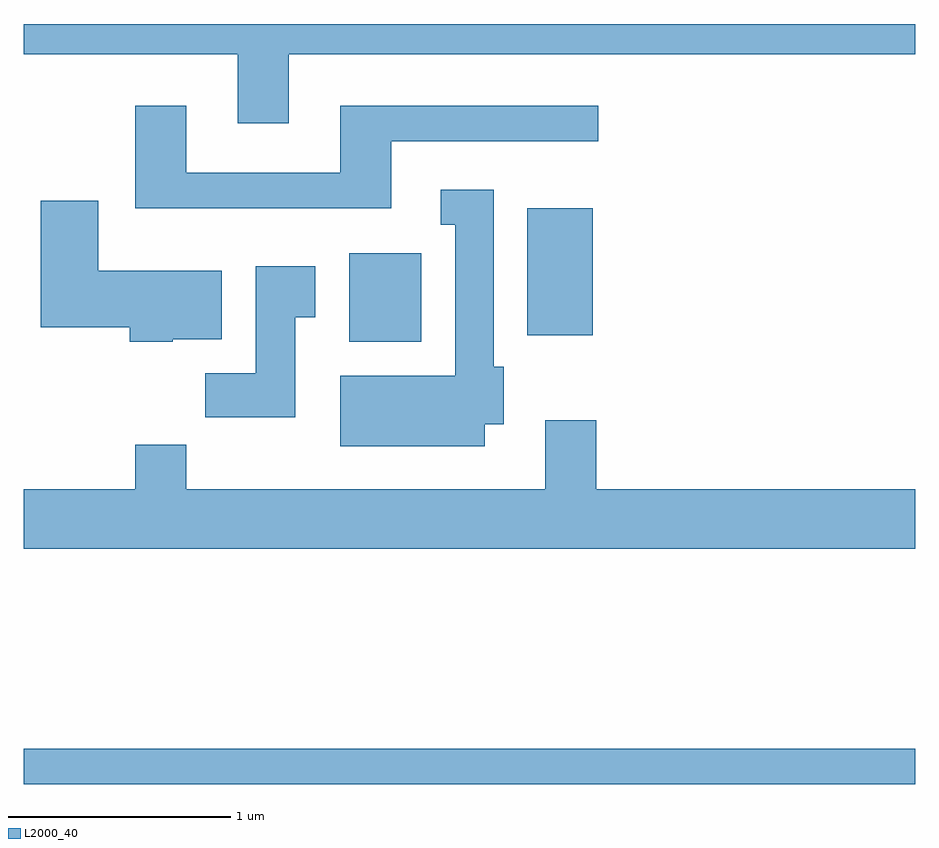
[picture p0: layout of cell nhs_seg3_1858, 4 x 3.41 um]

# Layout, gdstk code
import gdstk
lib = gdstk.Library(unit=1e-6, precision=1e-09)
def R(c, l, rs):  # rectangles x0, y0, x1, y1
    for r in rs: c.add(gdstk.rectangle(r[:2], r[2:], *l))
def P(c, l, *ps):  # polygons
    for p in ps: c.add(gdstk.Polygon(p, *l))
L2000_40 = (2000, 40)

nhs_seg3_1858 = lib.new_cell('nhs_seg3_1858')
R(nhs_seg3_1858, L2000_40, [(239.611,1160.481,243.611,1160.639), (241.071,1162.466,241.394,1162.864), (241.871,1162.496,242.164,1163.064)])
P(nhs_seg3_1858, L2000_40, [(240.799,1163.756),(243.611,1163.756),(243.611,1163.892),(239.611,1163.892),(239.611,1163.756),(240.571,1163.756),(240.571,1163.446),(240.799,1163.446)],
  [(241.259,1163.366),(242.188,1163.366),(242.188,1163.524),(241.031,1163.524),(241.031,1163.224),(240.339,1163.224),(240.339,1163.524),(240.111,1163.524),(240.111,1163.066),(241.259,1163.066)],
  [(241.679,1162.096),(241.764,1162.096),(241.764,1162.354),(241.719,1162.354),(241.719,1163.149),(241.483,1163.149),(241.483,1162.991),(241.546,1162.991),(241.546,1162.314),(241.031,1162.314),(241.031,1161.996),(241.679,1161.996)],
  [(240.28,1162.476),(240.499,1162.476),(240.499,1162.784),(239.944,1162.784),(239.944,1163.099),(239.686,1163.099),(239.686,1162.531),(240.086,1162.531),(240.086,1162.466),(240.28,1162.466)],
  [(240.829,1162.576),(240.919,1162.576),(240.919,1162.804),(240.651,1162.804),(240.651,1162.324),(240.426,1162.324),(240.426,1162.126),(240.829,1162.126)],
  [(243.611,1161.804),(242.179,1161.804),(242.179,1162.114),(241.951,1162.114),(241.951,1161.804),(240.339,1161.804),(240.339,1162.004),(240.111,1162.004),(240.111,1161.804),(239.611,1161.804),(239.611,1161.536),(243.611,1161.536)])

lib.write_gds('nhs_seg3_1858.gds')
